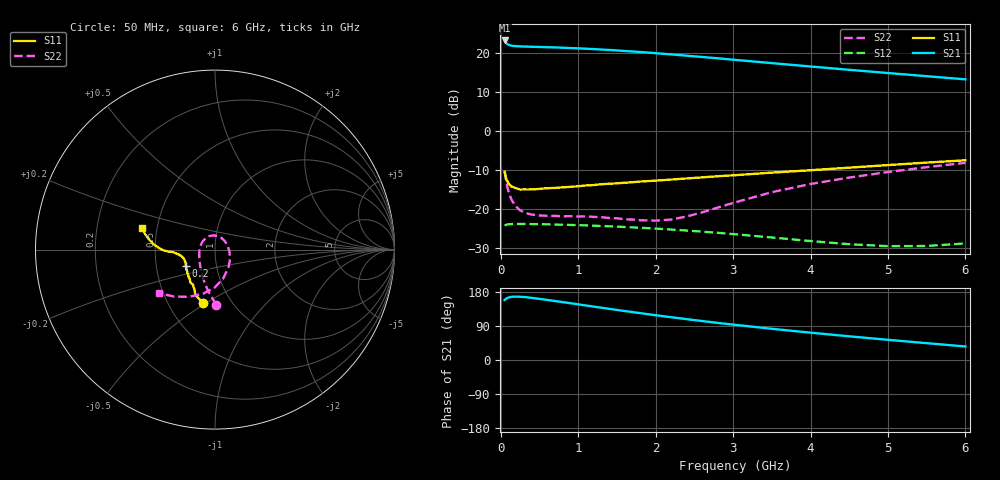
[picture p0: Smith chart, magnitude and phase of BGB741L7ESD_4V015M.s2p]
!  Infineon Technologies AG
!  BGB741L7ESD
!  Vce = 4.0V, Ic = 15.0mA
!  DATUM: 30.06.2009 10:10:11
# GHz  S  MA  R  50
!f  S11  S21  S12  S22
!GHz  Mag  Ang  Mag  Ang  Mag  Ang  Mag  Ang
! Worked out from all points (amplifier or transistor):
!   44 points, 50 MHz to 6 GHz, reference 50 ohm
!   highest |S21| = 23.3 dB at 50 MHz (marker M1)
!   |S21| within 3 dB of that: start of sweep to 1.831 GHz
!   unconditionally stable (mu >= 1): 195 MHz to end of sweep
!   at 120 MHz: K = 0.97, MSG = 22.9 dB, |S12| = -23.8 dB
!   at 1 GHz: K = 1.04, MAG = 21.5 dB, |S12| = -24.0 dB
!   at 6 GHz: K = 2.00, MAG = 15.3 dB, |S12| = -28.7 dB
!   S11 on the Smith chart (normalised r, x): 50 MHz: 0.74, -0.48; 200 MHz: 0.71, -0.13; 6 GHz: 0.41, +0.12
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0.05  0.3033 -102.6  14.56 158.6  0.06204 17.9  0.3065 -88.8
0.06  0.276 -113.2  13.91 160.0  0.06282 15.1  0.2621 -94.6
0.07  0.2491 -117.5  13.47 161.7  0.06347 13.0  0.23 -100.0
0.08  0.2305 -122.3  13.18 163.0  0.06381 11.1  0.2054 -104.5
0.1  0.215 -131.2  12.81 164.7  0.06432 8.7  0.1708 -112.9
0.15  0.1952 -144.4  12.44 167.0  0.06489 5.4  0.1273 -129.7
0.2  0.1863 -151.0  12.31 167.2  0.06504 3.3  0.1082 -143.0
0.35  0.1798 -161.4  12.13 165.2  0.06496 0.3  0.08827 -172.2
0.7  0.1883 -168.7  11.86 155.6  0.06399 -3.2  0.08252 146.2
1.1  0.2025 -172.0  11.42 143.9  0.06234 -5.9  0.08147 111.4
1.4  0.2129 -173.5  11 135.1  0.06072 -7.5  0.07757 87.8
1.6  0.2194 -175.0  10.67 129.3  0.05949 -8.5  0.07468 70.8
1.9  0.2302 -176.0  10.19 120.8  0.05746 -9.8  0.07237 42.7
2.2  0.241 -176.9  9.661 112.9  0.0552 -10.7  0.07408 12.0
2.8  0.2657 -178.1  8.608 98.0  0.05011 -11.5  0.1053 -38.8
3  0.273 -178.3  8.263 93.4  0.04828 -11.3  0.1209 -50.7
3.5  0.2956 -179.9  7.466 82.4  0.04366 -9.8  0.1661 -73.6
4  0.3172 177.8  6.758 72.1  0.03935 -6.2  0.2114 -90.4
4.5  0.3421 175.1  6.129 62.5  0.0358 -0.0  0.2555 -105.3
5  0.3692 171.6  5.575 53.2  0.0338 8.9  0.3009 -119.0
5.5  0.3974 167.7  5.075 44.4  0.034 19.1  0.3472 -131.1
6  0.4255 163.5  4.629 35.7  0.03664 28.6  0.3947 -142.1
